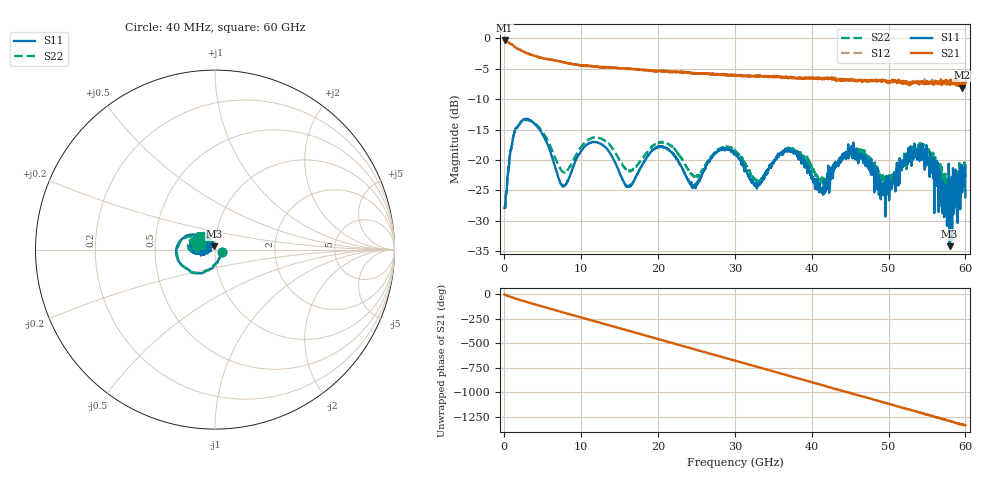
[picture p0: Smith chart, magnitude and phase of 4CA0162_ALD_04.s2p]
! File created by 'SoftPlot +Plus+ Measurement Management Software'
! SoftPlot +Plus+ Measurement Management Software
! Start 40.000000 MHz  Stop 60.000000 GHz  Points 1601
# MHZ S RI R 50
! S-Parameter data, F S11 S21 S12 S22
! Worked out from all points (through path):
!   1601 points, 40 MHz to 60 GHz, reference 50 ohm
!   highest |S21| = -0.38 dB at 40 MHz (marker M1); lowest = -8.1 dB at 59.51 GHz (marker M2)
!   group delay of S21, straight-line fit = 61.3 ps
!   lowest |S11| = -34.1 dB at 57.94 GHz (marker M3), VSWR 1.04, Z = 49.5 + j1.88 ohm
!   |S11| at or under -10 dB: start of sweep to end of sweep
!   |S22| runs from -27.8 to -13.4 dB; largest |S21 - S12| = 0.055
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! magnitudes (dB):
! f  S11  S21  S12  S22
! 40 MHz  -27.9  -0.4  -0.4  -27.7
! 1.127 GHz  -16.3  -1.2  -1.1  -16.4
! 2.438 GHz  -13.4  -2.2  -2.2  -13.5
! 4.799 GHz  -15.4  -3.2  -3.2  -15.1
! 7.572 GHz  -24.3  -3.9  -3.9  -21.9
! 10.05 GHz  -18.5  -4.5  -4.5  -17.8
! 12.89 GHz  -17.6  -4.8  -4.8  -16.6
! 16.15 GHz  -24.3  -5.0  -5.0  -21.8
! 20.05 GHz  -17.9  -5.4  -5.4  -17.2
! 24.66 GHz  -24.2  -5.8  -5.8  -22.6
! 27.77 GHz  -18.5  -6.0  -5.9  -18.2
! 30.02 GHz  -18.8  -6.1  -6.0  -18.5
! 32.68 GHz  -24.1  -6.2  -6.2  -23.2
! 36.88 GHz  -18.5  -6.4  -6.3  -18.3
! 40.03 GHz  -22.5  -6.5  -6.5  -21.2
! 41.52 GHz  -25.2  -6.6  -6.6  -22.9
! 45.16 GHz  -17.7  -6.7  -7.0  -18.6
! 50.03 GHz  -22.7  -7.0  -7.1  -22.6
! 54.23 GHz  -18.6  -7.3  -7.3  -18.4
! 57.94 GHz  -34.1  -7.2  -7.3  -22.8
! 59.51 GHz  -22.6  -8.1  -7.8  -24.7
! 60 GHz  -26.1  -7.4  -7.6  -22.8
